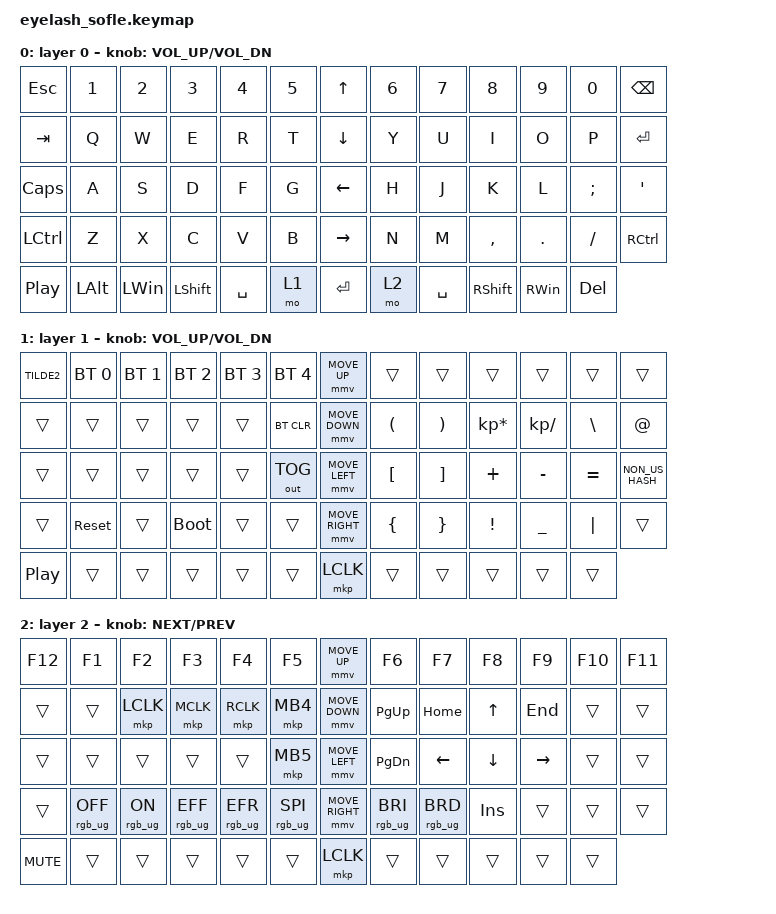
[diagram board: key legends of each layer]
#include <behaviors/mouse_keys.dtsi>
#include <dt-bindings/zmk/mouse.h>
#include <behaviors.dtsi>
#include <dt-bindings/zmk/bt.h>
#include <dt-bindings/zmk/keys.h>
#include <dt-bindings/zmk/outputs.h>
#include <dt-bindings/zmk/pointing.h>
#include <dt-bindings/zmk/rgb.h>

#define ZMK_MOUSE_DEFAULT_MOVE_VAL 1200  // 600
#define ZMK_MOUSE_DEFAULT_SCRL_VAL 20    // 10
#define U_MS_U &mmv MOVE_UP
#define U_MS_D &mmv MOVE_DOWN
#define U_MS_L &mmv MOVE_LEFT
#define U_MS_R &mmv MOVE_RIGHT
#define ZMK_MOUSE_DEFAULT_MOVE_VAL 1200  //  600
#define ZMK_MOUSE_DEFAULT_SCRL_VAL 20    // 10

/ {
    behaviors {
        mmv {
            acceleration-exponent = <1>;      // 1
            time-to-max-speed-ms = <900>;    // 40
            delay-ms = <0>;                   // 0
        };

        msc {
            acceleration-exponent = <1>;      // 0
            time-to-max-speed-ms = <400>;      // 500
            delay-ms = <0>;                   //   10
        };
    };

    scroll_encoder: scroll_encoder {
        compatible = "zmk,behavior-sensor-rotate";
        #sensor-binding-cells = <0>;
        bindings = <&msc SCRL_DOWN>, <&msc SCRL_UP>;

        tap-ms = <30>;
    };

    keymap {
        compatible = "zmk,keymap";

        layer_0 {
            bindings = <
&kp ESC           &kp N1        &kp N2        &kp N3          &kp N4     &kp N5    &kp UP_ARROW     &kp N6  &kp N7     &kp N8           &kp N9         &kp N0    &kp BACKSPACE
&kp TAB           &kp Q         &kp W         &kp E           &kp R      &kp T     &kp DOWN_ARROW   &kp Y   &kp U      &kp I            &kp O          &kp P     &kp ENTER
&kp CAPS          &kp A         &kp S         &kp D           &kp F      &kp G     &kp LEFT_ARROW   &kp H   &kp J      &kp K            &kp L          &kp SEMI  &kp APOSTROPHE
&kp LEFT_CONTROL  &kp Z         &kp X         &kp C           &kp V      &kp B     &kp RIGHT_ARROW  &kp N   &kp M      &kp COMMA        &kp DOT        &kp FSLH  &kp RIGHT_CONTROL
&kp C_PLAY_PAUSE  &kp LEFT_ALT  &kp LEFT_WIN  &kp LEFT_SHIFT  &kp SPACE  &mo 1     &kp ENTER        &mo 2   &kp SPACE  &kp RIGHT_SHIFT  &kp RIGHT_WIN  &kp DEL
            >;

            sensor-bindings = <&inc_dec_kp C_VOL_UP C_VOL_DN>;
            display-name = "layer 0";
        };

        layer_1 {
            bindings = <
&kp TILDE2        &bt BT_SEL 0  &bt BT_SEL 1  &bt BT_SEL 2  &bt BT_SEL 3  &bt BT_SEL 4    &mmv MOVE_UP     &trans                &trans                 &trans           &trans         &trans     &trans
&trans            &trans        &trans        &trans        &trans        &bt BT_CLR      &mmv MOVE_DOWN   &kp LEFT_PARENTHESIS  &kp RIGHT_PARENTHESIS  &kp KP_ASTERISK  &kp KP_DIVIDE  &kp BSLH   &kp AT
&trans            &trans        &trans        &trans        &trans        &out OUT_TOG    &mmv MOVE_LEFT   &kp LEFT_BRACKET      &kp RIGHT_BRACKET      &kp PLUS         &kp MINUS      &kp EQUAL  &kp NON_US_HASH
&trans            &sys_reset    &trans        &bootloader   &trans        &trans          &mmv MOVE_RIGHT  &kp LEFT_BRACE        &kp RIGHT_BRACE        &kp EXCLAMATION  &kp UNDER      &kp PIPE   &trans
&kp C_PLAY_PAUSE  &trans        &trans        &trans        &trans        &trans          &mkp LCLK        &trans                &trans                 &trans           &trans         &trans
            >;

            sensor-bindings = <&inc_dec_kp C_VOL_UP C_VOL_DN>;
            label = "layer 1";
        };

        layer_2 {
            bindings = <
&kp F12     &kp F1           &kp F2          &kp F3           &kp F4           &kp F5             &mmv MOVE_UP     &kp F6           &kp F7           &kp F8      &kp F9     &kp F10  &kp F11
&trans      &trans           &mkp LCLK       &mkp MCLK        &mkp RCLK        &mkp MB4           &mmv MOVE_DOWN   &kp PG_UP        &kp HOME         &kp UP      &kp END    &trans   &trans
&trans      &trans           &trans          &trans           &trans           &mkp MB5           &mmv MOVE_LEFT   &kp PG_DN        &kp LEFT         &kp DOWN    &kp RIGHT  &trans   &trans
&trans      &rgb_ug RGB_OFF  &rgb_ug RGB_ON  &rgb_ug RGB_EFF  &rgb_ug RGB_EFR  &rgb_ug RGB_SPI    &mmv MOVE_RIGHT  &rgb_ug RGB_BRI  &rgb_ug RGB_BRD  &kp INSERT  &trans     &trans   &trans
&kp C_MUTE  &trans           &trans          &trans           &trans           &trans             &mkp LCLK        &trans           &trans           &trans      &trans     &trans
            >;

            display-name = "layer 2";
            sensor-bindings = <&inc_dec_kp C_NEXT C_PREV>;
        };
    };
};
